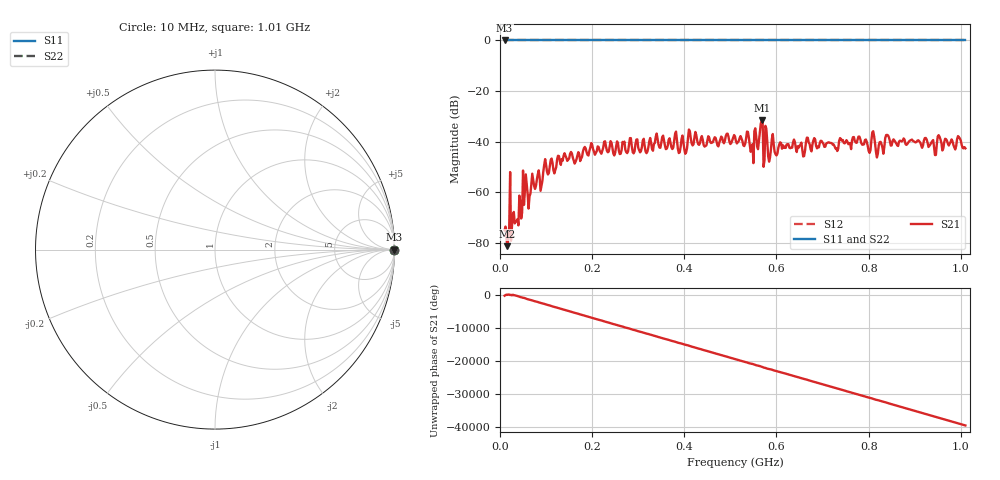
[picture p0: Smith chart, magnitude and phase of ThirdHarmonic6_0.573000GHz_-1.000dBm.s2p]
! 8/15/2025 6:26:30 PM
! C:\ANRITSUVNA\TEMP\TEMP.S2P
! CHANNEL.1
! TR.MEASUREMENT
! RAW.DATA
! RF.CORRECTION.OFF
! AVERAGING.OFF
! IF.BANDWIDTH: 5KHZ
! SWEEPTYPE:  FREQ.SWEEP(Linear)
! Reference Plane Port Info
! PORT:  PORT1  PORT2
! DISTANCE:  0  m  0  m
! TIME:  0  s  0  s
! PHASE.OFFSET:  0  deg.  0  deg.
! LOSS:  0  dB  0  dB
! REF.LOSS:  0  dB  0  dB
! REF.FREQ:  0  Hz  0  Hz
! Power Info
! POWER:  -20  dBm  -20  dBm
! EFF.POWER:  -20  dBm  -20  dBm
! SOURCE.ATTEN:  0  dB  0  dB
! TEST.ATTEN:  0  dB  0  dB
# GHZ S RI R 50.0
! FREQ.GHZ  S11RE  S11IM  S21RE  S21IM  S12RE  S12IM  S22RE  S22IM
!; PortSelection: Port_12
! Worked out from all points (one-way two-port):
!   501 points, 10 MHz to 1.01 GHz, reference 50 ohm
!   highest |S21| = -31.61 dB at 568 MHz (marker M1); lowest = -81.4 dB at 16 MHz (marker M2)
!   lowest |S11| = 0.0 dB at 10 MHz (marker M3)
!   |S11| at or under -10 dB: nowhere
!   |S22| runs from 0.0 to 0.0 dB; largest |S21 - S12| = 1
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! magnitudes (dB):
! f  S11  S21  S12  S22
! 10 MHz  0.0  -75.0  0.0  0.0
! 16 MHz  0.0  -81.4  0.0  0.0
! 26 MHz  0.0  -73.5  0.0  0.0
! 36 MHz  0.0  -71.4  0.0  0.0
! 54 MHz  0.0  -59.6  0.0  0.0
! 64 MHz  0.0  -61.7  0.0  0.0
! 98 MHz  0.0  -46.9  0.0  0.0
! 178 MHz  0.0  -46.1  0.0  0.0
! 344 MHz  0.0  -41.2  0.0  0.0
! 510 MHz  0.0  -38.0  0.0  0.0
! 538 MHz  0.0  -36.2  0.0  0.0
! 546 MHz  0.0  -43.2  0.0  0.0
! 568 MHz  0.0  -31.6  0.0  0.0
! 584 MHz  0.0  -48.0  0.0  0.0
! 678 MHz  0.0  -41.2  0.0  0.0
! 800 MHz  0.0  -43.7  0.0  0.0
! 810 MHz  0.0  -35.9  0.0  0.0
! 818 MHz  0.0  -46.3  0.0  0.0
! 844 MHz  0.0  -38.3  0.0  0.0
! 944 MHz  0.0  -45.3  0.0  0.0
! 996 MHz  0.0  -38.2  0.0  0.0
! 1.01 GHz  0.0  -42.7  0.0  0.0
